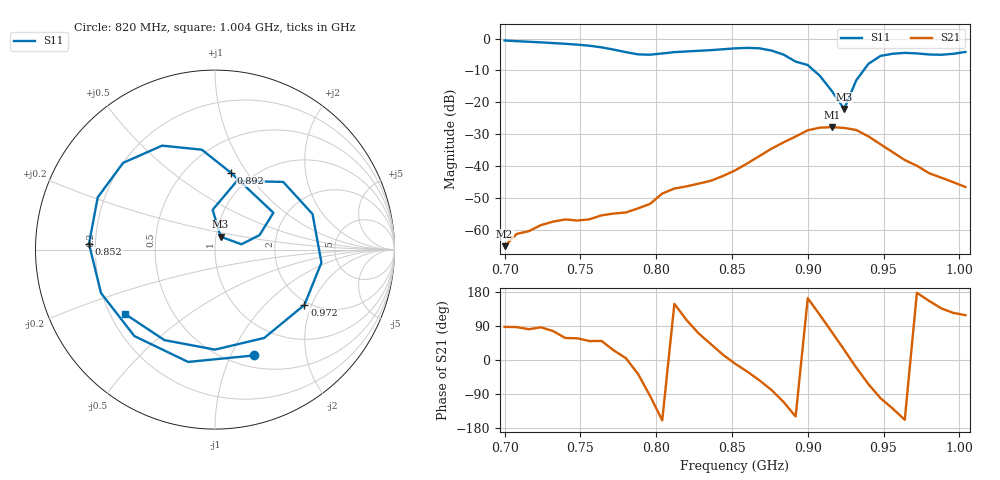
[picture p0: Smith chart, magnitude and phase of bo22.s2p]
# Hz S RI R 50
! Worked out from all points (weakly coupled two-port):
!   39 points, 700 MHz to 1.004 GHz, reference 50 ohm
!   highest |S21| = -27.74 dB at 916 MHz (marker M1); lowest = -65.0 dB at 700 MHz (marker M2)
!   lowest |S11| = -22.1 dB at 924 MHz (marker M3), VSWR 1.17, Z = 52.7 + j7.64 ohm
!   |S11| at or under -10 dB: 904 MHz to 936.8 MHz (32.73 MHz wide, 3.56 % of centre)
!   S12 and S22 are empty: the file has one direction only
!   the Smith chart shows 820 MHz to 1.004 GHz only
!   S11 on the Smith chart (normalised r, x): 820 MHz: 0.63, -1.23; 852 MHz: 0.17, +0.02; 892 MHz: 0.80, +0.85; 972 MHz: 1.90, -1.78; 1.004 GHz: 0.26, -0.30
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7e8  0.7693 0.53  2.53e-05 0.00056  0 0  0 0
7.24e8  0.8323 -0.2596  7.79e-05 0.0012  0 0  0 0
7.4e8  0.4405 -0.7017  0.000777 0.00125  0 0  0 0
7.56e8  -0.202 -0.7458  0.000951 0.00113  0 0  0 0
7.72e8  -0.6482 -0.1747  0.00164 0.000779  0 0  0 0
7.8e8  -0.5629 0.243  0.00188 0.00016  0 0  0 0
7.88e8  -0.1981 0.5295  0.00176 -0.00131  0 0  0 0
7.96e8  0.2835 0.4818  -0.000228 -0.00257  0 0  0 0
8.04e8  0.5735 0.114  -0.0035 -0.00133  0 0  0 0
8.2e8  0.2184 -0.5896  -0.0013 0.00467  0 0  0 0
8.36e8  -0.4493 -0.4817  0.00439 0.00399  0 0  0 0
8.52e8  -0.702 0.0323  0.00848 -0.00142  0 0  0 0
8.76e8  -0.2946 0.5793  0.00366 -0.0185  0 0  0 0
8.92e8  0.0906 0.4265  -0.0251 -0.0151  0 0  0 0
9.08e8  0.2481 0.0805  -0.0195 0.0352  0 0  0 0
9.16e8  0.1466 0.0297  0.0118 0.0393  0 0  0 0
9.24e8  0.0313 0.0721  0.0355 0.0182  0 0  0 0
9.4e8  0.1224 0.3825  0.0131 -0.0263  0 0  0 0
9.56e8  0.5433 0.1983  -0.0103 -0.0131  0 0  0 0
9.72e8  0.4983 -0.308  -0.0102 0.000482  0 0  0 0
9.88e8  -0.000568 -0.5572  -0.00481 0.00459  0 0  0 0
1.004e9  -0.5035 -0.357  -0.00225 0.00417  0 0  0 0
